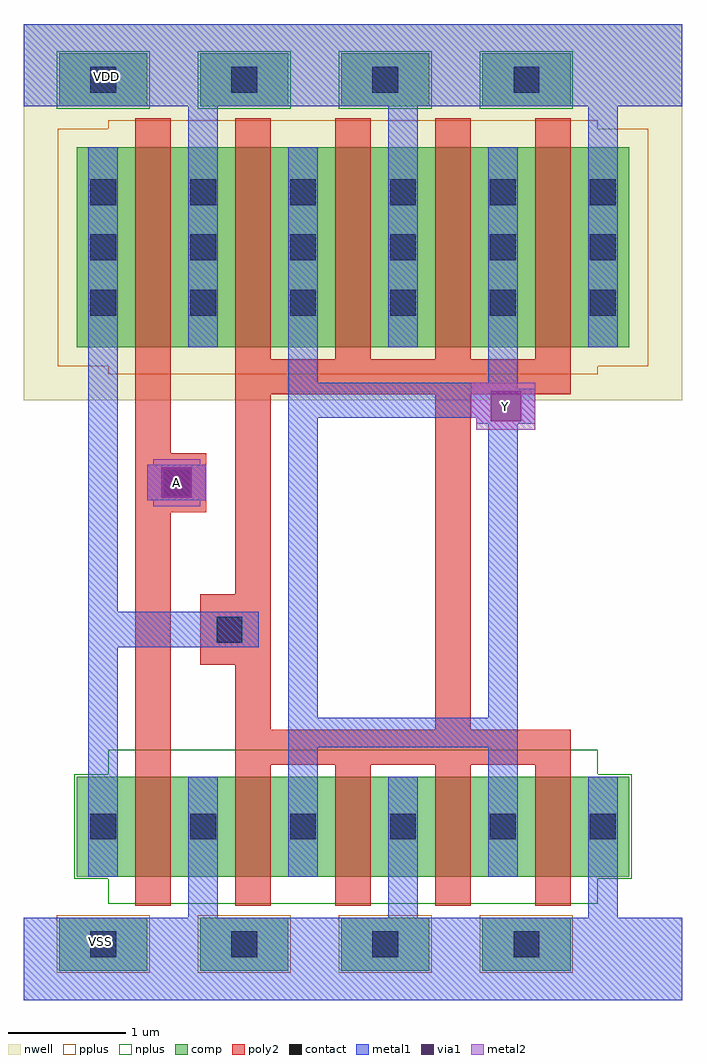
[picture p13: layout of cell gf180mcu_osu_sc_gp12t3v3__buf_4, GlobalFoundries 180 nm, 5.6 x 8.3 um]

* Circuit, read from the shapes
.subckt gf180mcu_osu_sc_gp12t3v3__buf_4 A VDD VSS Y
XM1 VSS A n1 VSS nfet_03v3 w=0.85u l=0.3u
XM2 Y n1 VSS VSS nfet_03v3 w=0.85u l=0.3u m=4
XM3 VDD A n1 VDD pfet_03v3 w=1.7u l=0.3u
XM4 Y n1 VDD VDD pfet_03v3 w=1.7u l=0.3u m=4
.ends

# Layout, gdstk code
import gdstk
lib = gdstk.Library(unit=1e-6, precision=1e-09)
def R(c, l, rs):  # rectangles x0, y0, x1, y1
    for r in rs: c.add(gdstk.rectangle(r[:2], r[2:], *l))
def A(c, l, x, y, w, h, nx, ny, dx, dy):  # array of equal rectangles
    R(c, l, [(x+i*dx, y+j*dy, x+i*dx+w, y+j*dy+h) for i in range(nx) for j in range(ny)])
nwell = (21, 0)
comp = (22, 0)
poly2 = (30, 0)
pplus = (31, 0)
nplus = (32, 0)
contact = (33, 0)
metal1 = (34, 0)
via1 = (35, 0)
metal2 = (36, 0)

gf180mcu_osu_sc_gp12t3v3 = lib.new_cell('gf180mcu_osu_sc_gp12t3v3__buf_4')
R(gf180mcu_osu_sc_gp12t3v3, nwell, [(0,5.1,5.6,8.3)])
A(gf180mcu_osu_sc_gp12t3v3, comp, 0.3, 0.25, 0.75, 0.45, 4, 2, 1.2, 7.35)
R(gf180mcu_osu_sc_gp12t3v3, comp, [(0.45,1.05,5.15,1.9), (0.45,5.55,5.15,7.25)])
A(gf180mcu_osu_sc_gp12t3v3, poly2, 1.8, 0.8, 0.3, 1.2, 4, 1, 0.85, 0)
A(gf180mcu_osu_sc_gp12t3v3, poly2, 1.8, 5.45, 0.3, 2.05, 4, 1, 0.85, 0)
R(gf180mcu_osu_sc_gp12t3v3, poly2, [(0.95,0.8,1.25,4.15), (1.8,2,4.65,2.3), (1.8,2.3,2.1,2.85), (3.5,2.3,3.8,5.15), (1.5,2.85,2.1,3.45), (1.8,3.45,2.1,5.15), (0.95,4.15,1.55,4.65), (0.95,4.65,1.25,7.5), (1.8,5.15,4.65,5.45)])
A(gf180mcu_osu_sc_gp12t3v3, pplus, 0.28, 0.23, 0.79, 0.49, 4, 1, 1.2, 0)
R(gf180mcu_osu_sc_gp12t3v3, pplus, [(0.72,5.32,4.88,5.39), (0.29,5.39,5.31,7.41), (0.72,7.41,4.88,7.48)])
A(gf180mcu_osu_sc_gp12t3v3, nplus, 0.28, 7.58, 0.79, 0.49, 4, 1, 1.2, 0)
R(gf180mcu_osu_sc_gp12t3v3, nplus, [(0.72,0.82,4.88,1.03), (0.43,1.03,5.17,1.92), (0.72,1.92,4.88,2.13)])
A(gf180mcu_osu_sc_gp12t3v3, contact, 0.565, 0.365, 0.22, 0.22, 4, 2, 1.2, 7.35)
A(gf180mcu_osu_sc_gp12t3v3, contact, 0.565, 1.365, 0.22, 0.22, 6, 2, 0.85, 4.455)
A(gf180mcu_osu_sc_gp12t3v3, contact, 0.565, 6.29, 0.22, 0.22, 6, 2, 0.85, 0.47)
R(gf180mcu_osu_sc_gp12t3v3, contact, [(1.64,3.04,1.86,3.26), (1.19,4.29,1.41,4.51)])
A(gf180mcu_osu_sc_gp12t3v3, metal1, 1.4, 0.7, 0.25, 1.2, 3, 1, 1.7, 0)
A(gf180mcu_osu_sc_gp12t3v3, metal1, 1.4, 5.55, 0.25, 2.05, 3, 1, 1.7, 0)
R(gf180mcu_osu_sc_gp12t3v3, metal1, [(0,0,5.6,0.7), (0.55,1.05,0.8,3), (2.25,1.05,2.5,2.15), (3.95,1.05,4.2,2.15), (2.25,2.15,4.2,2.4), (2.25,2.4,2.5,4.95), (3.95,2.4,4.2,4.9), (0.55,3,2,3.3), (0.55,3.3,0.8,7.25), (1.05,4.25,1.55,4.55), (3.85,4.9,4.35,4.95), (2.25,4.95,4.35,5.2), (2.25,5.2,4.2,5.25), (2.25,5.25,2.5,7.25), (3.95,5.25,4.2,7.25), (0,7.6,5.6,8.3)])
R(gf180mcu_osu_sc_gp12t3v3, via1, [(1.17,4.27,1.43,4.53), (3.97,4.92,4.23,5.18)])
R(gf180mcu_osu_sc_gp12t3v3, metal2, [(1.1,4.2,1.5,4.25), (1.05,4.25,1.55,4.55), (1.1,4.55,1.5,4.6), (3.85,4.85,4.35,4.95), (3.8,4.95,4.35,5.25)])
gf180mcu_osu_sc_gp12t3v3.add(gdstk.Label('A', (1.3,4.4), layer=36, texttype=10))
gf180mcu_osu_sc_gp12t3v3.add(gdstk.Label('Y', (4.1,5.05), layer=36, texttype=10))
gf180mcu_osu_sc_gp12t3v3.add(gdstk.Label('VDD', (0.7,7.85), layer=34, texttype=10))
gf180mcu_osu_sc_gp12t3v3.add(gdstk.Label('VSS', (0.65,0.5), layer=34, texttype=10))

lib.write_gds('gf180mcu_osu_sc_gp12t3v3__buf_4.gds')
